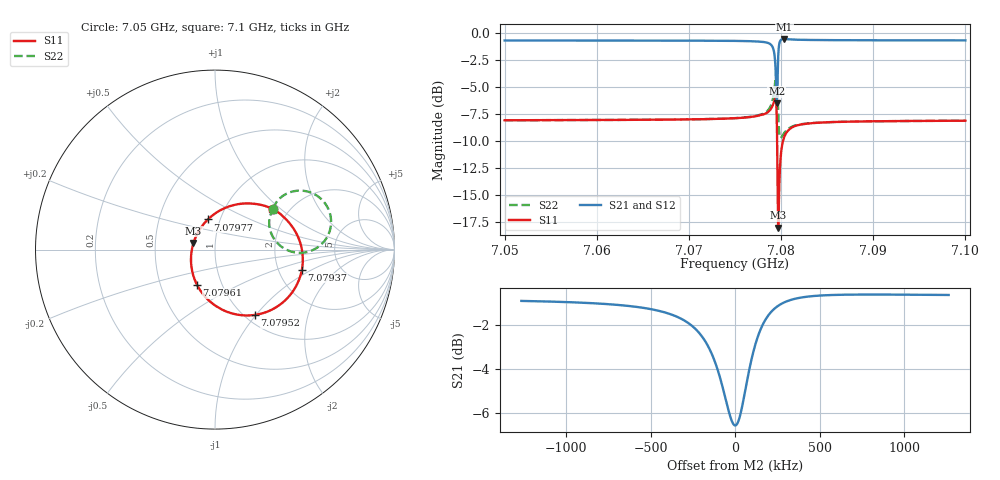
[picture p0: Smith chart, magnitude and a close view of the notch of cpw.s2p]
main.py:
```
from mcp.server.fastmcp import FastMCP
from mcp.types import TextContent, ImageContent, BlobResourceContents
import logging

# Set up logging (this just prints messages to your terminal for debugging)
logging.basicConfig(
    level=logging.INFO,
    format='%(asctime)s - %(levelname)s - %(name)s - %(message)s'
)
logger = logging.getLogger(__name__)

# Create the MCP server object
mcp = FastMCP()
# ----------------------------------------------------------------------

# Here’s where you define your tools (functions the AI can use)
@mcp.tool()
def print_hello():
    return "hello"


from pysonnet.outputs import SYZParameter
import numpy as np
import os
import base64
import matplotlib.pyplot as plt

@mcp.tool()
def get_file_path():
    """
    Returns the file path of a specific .s2p file.
    This function provides the absolute path to the 'cpw.s2p' file
    located in the 'fitting' directory of the project.
    Returns:
        str: The absolute file path to 'cpw.s2p'.
    """

    file_path = '/Users/eesh/Documents/mcp_hackathon_2025/cqed-design-ai/fitting/cpw.s2p'
    return file_path

@mcp.tool()
def get_plot_folder():
    """
    Returns the file path to the folder where plots are stored.
    This function provides the absolute path to the directory
    designated for storing plot files generated by the application.
    Returns:
        str: The absolute path to the plots folder.
    """

    plot_folder = '/Users/eesh/Documents/mcp_hackathon_2025/cqed-design-ai/fitting/fitting_server/plots'
    return plot_folder

@mcp.tool()
def plot_s21(file_path, plot_folder_path=None):
    """
    Plots the S21 parameter from a Touchstone file and optionally saves the plot.
    This function reads a Touchstone file, extracts the S21 parameter (measurement at port 1 
    due to excitation at port 2), and plots its magnitude in dB as a function of frequency. 
    Optionally, the plot can be saved to a specified folder.
    Args:
        file_path (str): Path to the Touchstone file containing the S-parameter data.
        plot_folder_path (str, optional): Path to the folder where the plot will be saved. 
            If not provided, the plot will not be saved.
    Returns:
        ImageContent: An object containing the base64-encoded image of the plot, its MIME type, 
            and a description. If `plot_folder_path` is not provided, the image data will be None.
    Raises:
        FileNotFoundError: If the specified Touchstone file does not exist.
        ValueError: If the Touchstone file cannot be parsed or does not contain valid S-parameter data.
    Notes:
        - The function uses the `SYZParameter` class to parse the Touchstone file.
        - The plot is saved as "s21_plot.png" in the specified folder if `plot_folder_path` is provided.
    """
    
    

    import matplotlib.pyplot as plt

    S, freq = get_s_params(file_path)

    # Pick out S12 = measurement at port 1 due to excitation at port 2
    s12 = S[:, 0, 1]

    # Plot magnitude in dB
    fig = plt.figure()
    plt.plot(freq, 20 * np.log10(np.abs(s12)), marker='o')
    plt.xlabel('Frequency (GHz)')
    plt.ylabel('S$_{12}$ (dB)')
    plt.title('S$_{12}$ vs Frequency')
    plt.grid(True)
    # plt.show()

    image_path = save_plot_and_show(fig, plot_folder_path, title="S21 Plot")
    base64_img = image_to_base64(image_path) if image_path else None
    return ImageContent( type='image',data=base64_img, mimeType='image/png')

@mcp.tool()
def extract_total_quality_factor(file_path, plot_folder_path=None):
    """
    Extracts the total quality factor (Q) from S-parameter data and generates a plot of the S21 magnitude.
    This function reads S-parameter data from a file, identifies the resonance frequency, calculates the 
    bandwidth (Full Width at Half Maximum, FWHM), and computes the total quality factor (Q). It also 
    generates a plot of the S21 magnitude with markers for the resonance frequency and bandwidth limits.
    Args:
        file_path (str): Path to the file containing S-parameter data.
        plot_folder_path (str, optional): Path to the folder where the plot image will be saved. 
                                          If None, the plot will not be saved.
    Returns:
        tuple: A tuple containing:
            - ImageContent: An object containing the base64-encoded image of the plot and its MIME type.
            - float: The calculated total quality factor (Q).
    Raises:
        FileNotFoundError: If the specified file_path does not exist.
        ValueError: If the S-parameter data is invalid or cannot be processed.
    Notes:
        - The function assumes the S-parameter data is in a format compatible with the `get_s_params` function.
        - The resonance frequency is identified as the frequency corresponding to the minimum |S21|.
        - The bandwidth is calculated as the frequency range where the magnitude is within 3 dB of the maximum.
    Example:
        >>> image_content, quality_factor = extract_total_quality_factor("data/s_params.csv", "plots/")
        >>> print(f"Quality Factor: {quality_factor}")
    """

    S, freq = get_s_params(file_path)
    s21 = S[:, 0, 1]  # Pick out S12 = measurement at port 1 due to excitation at port 2
    # Convert frequency to Hz for fitting
    freq_hz = freq * 1e9

    # Find the resonance frequency (frequency at minimum |S21|)
    resonance_index = np.argmin(np.abs(s21))
    f_res = freq_hz[resonance_index]

    # Calculate the bandwidth (FWHM) around the resonance frequency
    magnitude = 20 * np.log10(np.abs(s21))
    half_max = np.max(magnitude) - 3  # 3 dB below the max
    indices = np.where(magnitude >= half_max)[0]
    f_min = freq_hz[indices[0]]
    f_max = freq_hz[indices[-1]]
    bandwidth = f_max - f_min

    # Calculate the total quality factor
    Q = f_res / bandwidth

    # Plot the S21 magnitude and mark the resonance frequency
    fig = plt.figure()
    plt.plot(freq_hz, magnitude, label='|S21| (dB)')
    plt.axvline(f_res, color='r', linestyle='--', label=f'Resonance: {f_res/1e9:.3f} GHz')
    plt.axvline(f_min, color='g', linestyle='--', label=f'F_min: {f_min/1e9:.3f} GHz')
    plt.axvline(f_max, color='b', linestyle='--', label=f'F_max: {f_max/1e9:.3f} GHz')
    plt.xlabel('Frequency (Hz)')
    plt.ylabel('|S21| (dB)')
    plt.title('S21 Magnitude and Resonance')
    plt.legend()
    plt.grid(True)
    
    image_path = save_plot_and_show(fig, plot_folder_path, title="S21 Plot_with_fit")
    base64_img = image_to_base64(image_path) if image_path else None
    return ImageContent( type='image',data=base64_img, mimeType='image/png'), Q

from circle_fitting_code import *
@mcp.tool()
def perform_circle_fit(file_path, plot_folder_path=None):
    """
    Perform a circle fit on S-parameter data to extract resonator parameters.
    This function reads S-parameter data from a file, extracts the S21 parameter,
    separates its real and imaginary parts, and performs a circle fit to determine
    key resonator parameters such as resonance frequency, quality factors, and more.
    Optionally, it can generate and save a plot of the fit.
    Args:
        file_path (str): Path to the file containing S-parameter data.
        plot_folder_path (str, optional): Path to the folder where the plot should be saved.
            If None, the plot will not be saved.
    Returns:
        tuple: A tuple containing:
            - ImageContent: An object containing the base64-encoded image of the circle fit plot.
            - dict: A dictionary containing the fit results with follwing keys: 
                ['xc', 'xc_stderr', 'yc', 'yc_stderr', 'rc', 'rc_stderr', 'theta0', 'theta0_stderr',
                'Qtot', 'Qtot_stderr', 'fr', 'fr_stderr', 'alpha', 'alpha_stderr', 'a', 'a_stderr',
                  'phi', 'phi_stderr', 'Qc', 'Qc_stderr', 'Qi', 'Qi_stderr']

    Notes:
        - The fit type is set to 'hanger' by default. Adjust the `fittype` parameter
          in the `circlefit` function call if needed.
        - The function assumes the input file contains S-parameter data in a format
          compatible with the `get_s_params` function.
        - The plot is saved using the `save_plot_and_show` function, and its path is
          converted to a base64-encoded image if applicable.
    """

    
    S, freqs = get_s_params(file_path)
    s21 = S[:, 0, 1]  # Pick out S12 = measurement at port 1 due to excitation at port 2

    # Separate real and imaginary parts
    real_data = s21.real
    imag_data = s21.imag

    # Run the circle fit
    fitresults = circlefit(
        freqs=freqs,
        Xn=real_data, 
        Yn=imag_data,
        fittype='hanger',  # Change to 'hanger' or 'reflection' if needed based on your CPW design
        plotlabel='CPW Resonator',
        show_plots=True,
        print_results=True
    )

    # fit results format (['xc', 'xc_stderr', 'yc', 'yc_stderr', 'rc', 'rc_stderr', 'theta0', 'theta0_stderr', 'Qtot', 'Qtot_stderr', 'fr', 'fr_stderr', 'alpha', 'alpha_stderr', 'a', 'a_stderr', 'phi', 'phi_stderr', 'Qc', 'Qc_stderr', 'Qi', 'Qi_stderr'])

    # # Print out key resonator parameters
    # print("\nSummary of Key Parameters:")
    # print(f"Resonance Frequency: {fitresults['fr']/1e9:.6f} GHz")
    # print(f"Loaded Quality Factor (Q_L): {fitresults['Qtot']:.0f}")
    # print(f"Coupling Quality Factor (Q_c): {fitresults['Qc']:.0f}")
    # print(f"Internal Quality Factor (Q_i): {fitresults['Qi']:.0f}")

    # # You can also save the fit results to a file
    # np.save('cpw_fitresults.npy', fitresults)

    fig = fitresults['fig']
    image_path = save_plot_and_show(fig, plot_folder_path, title="Circle fit ")
    base64_img = image_to_base64(image_path) if image_path else None
    return ImageContent( type='image',data=base64_img, mimeType='image/png'), fitresults

    return fitresults

# ----------------------------Static-----------------------------------------
def image_to_base64(image_path):
    """
    Converts an image file to a Base64-encoded string.
    Parameters:
        image_path (str): The path to the image file.
    Returns:
        str: The Base64-encoded string representation of the image.
    """
    try:
        with open(image_path, "rb") as image_file:
            base64_string = base64.b64encode(image_file.read()).decode('utf-8')
        return base64_string
    except FileNotFoundError:
        return f"Error: File not found at {image_path}"
    except Exception as e:
        return f"Error: {str(e)}"

def get_s_params(file_path):
    """
    Reads S-parameters from a Touchstone file and returns their values and frequencies.
    Args:
        file_path (str): The path to the Touchstone file containing the S-parameters.
    Returns:
        tuple: A tuple containing:
            - sp.value: The S-parameter values.
            - sp.f: The corresponding frequencies.
    Raises:
        ValueError: If there is an error reading the S-parameters from the specified file.
    """
    
    try:
        sp = SYZParameter.from_touchstone(file_path)
        return sp.value, sp.f
    except Exception as e:
        raise ValueError(f"Error reading S-parameters from {file_path}: {str(e)}")

def save_plot_and_show(fig, plot_folder_path=None, title="Plot"):
    """
    Saves a matplotlib figure to a specified folder and optionally displays it.
    Args:
        fig (matplotlib.figure.Figure): The figure to save.
        plot_folder_path (str, optional): The path to the folder where the plot will be saved. 
            If not provided, the plot will not be saved.
        title (str, optional): The title of the plot. Defaults to "Plot".
    Returns:
        str: The path to the saved plot file if `plot_folder_path` is provided, otherwise None.
    """
    fig.suptitle(title)  # Set the title of the plot
    if plot_folder_path:
        if not os.path.exists(plot_folder_path):
            os.makedirs(plot_folder_path)
        plot_path = os.path.join(plot_folder_path, "s21_plot.png")
        fig.savefig(plot_path)
        print(f"Plot saved to {plot_path}")
        return plot_path
    else:
        # plt.show()
        return None
def convert_to_base64(image_path):
    """
    Converts an image file to a Base64-encoded string.
    Args:
        image_path (str): The path to the image file.
    Returns:
        str: The Base64-encoded string representation of the image.
    """
    try:
        with open(image_path, "rb") as image_file:
            base64_string = base64.b64encode(image_file.read()).decode('utf-8')
        return base64_string
    except FileNotFoundError:
        return f"Error: File not found at {image_path}"
    except Exception as e:
        return f"Error: {str(e)}"




# This is the main entry point for your server
def main():
    logger.info('Starting your-new-server')
    mcp.run('stdio')

if __name__ == "__main__":
    main()
```
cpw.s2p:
! Sonnet Data File
! From: em Version : 18.56
! From Project: cpw
! Data is De-embedded
! Data File Written: 06/13/2025 23:42:06
! ->  Created by pysonnet 0.0.4
!< HDATE 06/13/2025 23:19:25
!< MDATE 06/13/2025 23:19:25
# GHZ S RI R 50.00000
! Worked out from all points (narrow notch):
!   848 points, 7.05 GHz to 7.1 GHz, reference 50 ohm
!   highest |S21| = -0.60 dB at 7.08034 GHz (marker M1); lowest = -6.6 dB at 7.07954 GHz (marker M2)
!   notch at M2: 5.7 dB deep, 212 kHz wide at half that depth
!   lowest |S11| = -18.0 dB at 7.07969 GHz (marker M3), VSWR 1.29, Z = 39.2 + j2.94 ohm
!   |S11| at or under -10 dB: 7.079571 GHz to 7.080214 GHz (643.4 kHz wide, 0.00909 % of centre)
!   |S22| runs from -9.7 to -3.5 dB; largest |S21 - S12| = 1e-13
!   S11 on the Smith chart (normalised r, x): 7.05 GHz: 1.66, +0.88; 7.07937 GHz: 2.70, -0.80; 7.07952 GHz: 1.11, -0.99; 7.07961 GHz: 0.76, -0.31; 7.07977 GHz: 0.87, +0.30; 7.1 GHz: 1.64, +0.88
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7.05  0.323 0.2243  0.5282 -0.7526  0.5282 -0.7526  0.3208 0.2275
7.075039  0.3394 0.2154  0.5135 -0.7576  0.5135 -0.7576  0.3265 0.2353
7.078595  0.3947 0.17  0.4631 -0.7661  0.4631 -0.7661  0.3456 0.269
7.079367  0.4841 -0.1116  0.2669 -0.6709  0.2669 -0.6709  0.4987 0.3268
7.079517  0.222 -0.364  0.2653 -0.4011  0.2653 -0.4011  0.644 0.1861
7.079537  0.1407 -0.3648  0.3061 -0.3568  0.3061 -0.3568  0.6464 0.1412
7.079611  -0.1001 -0.1965  0.5189 -0.3134  0.5189 -0.3134  0.5599 0.00512
7.079688  -0.1199 0.0369  0.6555 -0.4215  0.6555 -0.4215  0.4308 -0.0126
7.079771  -0.0397 0.1681  0.6856 -0.532  0.6856 -0.532  0.3556 0.0285
7.080342  0.2063 0.2564  0.6058 -0.7096  0.6058 -0.7096  0.3024 0.1631
7.1  0.319 0.2268  0.5284 -0.7534  0.5284 -0.7534  0.3218 0.2227
